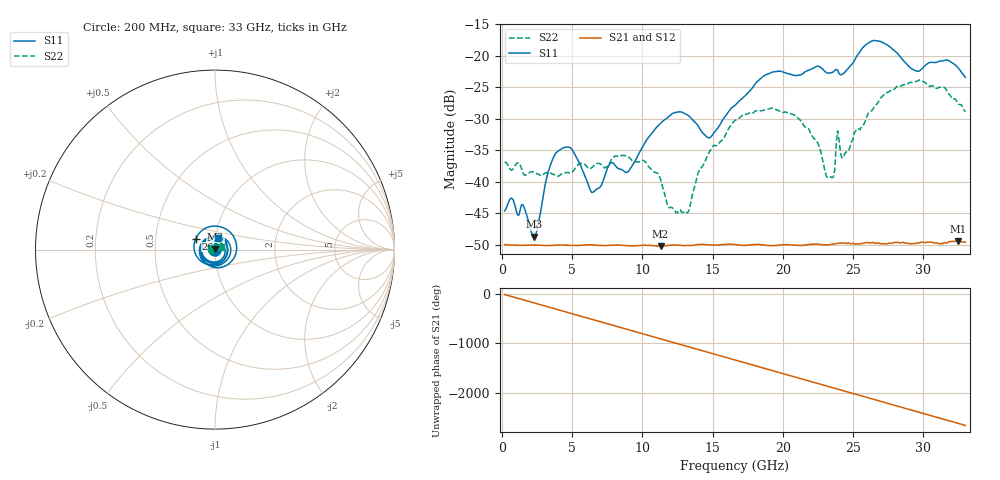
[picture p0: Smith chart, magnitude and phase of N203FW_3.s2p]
# GHZ S RI R 50
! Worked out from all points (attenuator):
!   329 points, 200 MHz to 33 GHz, reference 50 ohm
!   highest |S21| = -49.39 dB at 32.5 GHz (marker M1); lowest = -50.2 dB at 11.3 GHz (marker M2)
!   lowest |S11| = -48.7 dB at 2.3 GHz (marker M3), VSWR 1.01, Z = 50.1 + j0.336 ohm
!   |S11| at or under -10 dB: start of sweep to end of sweep
!   |S22| runs from -44.9 to -23.9 dB; largest |S21 - S12| = 8.8e-05
!   S11 on the Smith chart (normalised r, x): 200 MHz: 1.01, -0.00; 26 GHz: 0.80, +0.10; 33 GHz: 1.03, +0.13
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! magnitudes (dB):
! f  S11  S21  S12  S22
! 200 MHz  -44.6  -50.0  -49.9  -36.8
! 1.5 GHz  -43.6  -50.0  -50.0  -38.6
! 2.3 GHz  -48.7  -50.0  -50.0  -38.5
! 3.8 GHz  -35.6  -50.0  -50.0  -38.9
! 5.7 GHz  -37.9  -50.0  -50.0  -37.2
! 6.5 GHz  -41.7  -50.0  -50.0  -37.6
! 11.2 GHz  -31.0  -50.2  -50.2  -39.0
! 11.3 GHz  -30.7  -50.2  -50.2  -39.6
! 11.8 GHz  -29.8  -50.1  -50.0  -43.8
! 13.2 GHz  -29.4  -50.1  -50.1  -44.9
! 14.8 GHz  -33.0  -50.0  -50.0  -35.2
! 16.6 GHz  -27.9  -49.9  -49.9  -30.3
! 19.3 GHz  -22.6  -50.1  -50.1  -28.3
! 22.1 GHz  -22.1  -49.9  -49.8  -32.8
! 23.5 GHz  -22.7  -49.9  -49.8  -39.4
! 23.9 GHz  -22.3  -49.8  -49.8  -31.9
! 24.3 GHz  -22.9  -49.7  -49.6  -36.2
! 26 GHz  -18.1  -49.7  -49.6  -29.5
! 27.6 GHz  -18.6  -49.7  -49.7  -25.7
! 29.8 GHz  -22.3  -49.6  -49.7  -23.9
! 32.5 GHz  -22.0  -49.4  -49.4  -27.7
! 33 GHz  -23.5  -49.5  -49.6  -28.9
